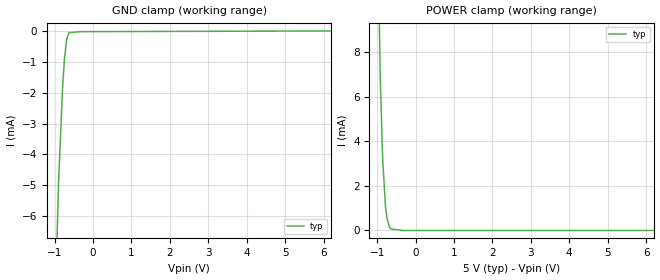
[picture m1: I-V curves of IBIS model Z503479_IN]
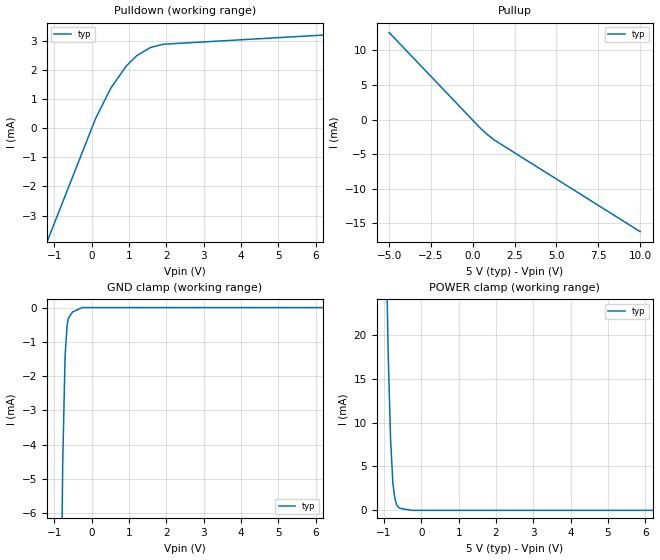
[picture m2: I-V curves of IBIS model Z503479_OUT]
| YOU ARE ONLY AUTHORIZED TO USE THIS SOFTWARE
| ACCORDING TO LICENSOR'S LICENSE RESTRICTIONS.
[IBIS Ver] 3.1
[File Name] mc14014bcl.ibs
[File Rev] 2.0
[Source] Measured and created by ICX Technology
[Date] Friday 7/14/00 9:07:51 AM
[Copyright]
| (C) COPYRIGHT 1993-2000
| MENTOR GRAPHICS CORPORATION
| ICX STANDARD LIBRARY, ICX PROJECT MODELING,
| ICX CUSTOM MODELING, ICX VENDOR MODEL
| ALL RIGHTS RESERVED.
| THE FOLLOWING ARE TRADEMARKS OR SERVICE MARKS OF
| MENTOR GRAPHICS CORPORATION:ICX (R), ICX STANDARD
| LIBRARY(R), ICX PROJECT MODELING(R), ICX CUSTOM
| MODELING(R), qualityIBIS(TM), MODELVIEWER(TM),
| AND MODELEDITOR(TM)
| ALL COPIES OF SOFTWARE, INCLUDING BUT NOT LIMITED TO
| ANY MODIFICATIONS, ENHANCEMENTS OR DERIVATIVE WORKS,
| MUST CONTAIN ALL MENTOR GRAPHICS CORPORATION'S
| NOTICES AND LEGENDS, INCLUDING THOSE EMBEDDED IN
| SOFTWARE AND THOSE AFFIXED TO SOFTWARE MEDIUM
| AND CONTAINER, AS RECEIVED FROM MENTOR GRAPHICS
| CORPORATION.
|  ZAP Model Builder 2.7
[Component] MC14014BCL
[Manufacturer] OnSemiconductor
[Package]
| variable   typ   min   max
R_pkg  .212ohms NA NA
L_pkg  4.758nH NA NA
C_pkg  1.944pF NA NA
[Pin] signal_name  model_name  R_pin  L_pin C_pin
1 P8 Z503479_IN .224 7.258n 2.683p
2 Q6 Z503479_OUT .216 5.258n 2.19p
3 Q8 Z503479_OUT .208 3.758n 1.697p
4 P4 Z503479_IN .2 2.758n 1.204p
5 P3 Z503479_IN .2 2.758n 1.204p
6 P2 Z503479_IN .208 3.758n 1.697p
7 P1 Z503479_IN .216 5.258n 2.19p
8 VSS POWER .224 7.258n 2.683p
9 P/S Z503479_IN .224 7.258n 2.683p
10 C Z503479_IN .216 5.258n 2.19p
11 DS Z503479_IN .208 3.758n 1.697p
12 Q7 Z503479_OUT .2 2.758n 1.204p
13 P5 Z503479_IN .2 2.758n 1.204p
14 P6 Z503479_IN .208 3.758n 1.697p
15 P7 Z503479_IN .216 5.258n 2.19p
16 VDD POWER .224 7.258n 2.683p
| Models and submodels in the file (2): Z503479_IN (Input), Z503479_OUT (Output)
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| (C) COPYRIGHT 1993-2000
| MENTOR GRAPHICS CORPORATION
| ICX STANDARD LIBRARY, ICX PROJECT MODELING,
| ICX CUSTOM MODELING, ICX VENDOR MODEL
| ALL RIGHTS RESERVED.
| THE FOLLOWING ARE TRADEMARKS OR SERVICE MARKS OF
| MENTOR GRAPHICS CORPORATION:ICX (R), ICX STANDARD
| LIBRARY(R), ICX PROJECT MODELING(R), ICX CUSTOM
| MODELING(R), qualityIBIS(TM), MODELVIEWER(TM),
| AND MODELEDITOR(TM)
| ALL COPIES OF SOFTWARE, INCLUDING BUT NOT LIMITED TO
| ANY MODIFICATIONS, ENHANCEMENTS OR DERIVATIVE WORKS,
| MUST CONTAIN ALL MENTOR GRAPHICS CORPORATION'S
| NOTICES AND LEGENDS, INCLUDING THOSE EMBEDDED IN
| SOFTWARE AND THOSE AFFIXED TO SOFTWARE MEDIUM
| AND CONTAINER, AS RECEIVED FROM MENTOR GRAPHICS
| CORPORATION.
| Model Application Version 1.89 2/18/99.
[Model] Z503479_IN
Model_type Input
Vinl = 1.500V
Vinh = 3.500V
C_comp 4.000pF NA NA
| variable typ   min   max
[Voltage Range] 5.000V NA NA
[GND Clamp Reference] 0.000V NA NA
[POWER Clamp Reference] 5.000V NA NA
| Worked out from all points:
|   GND clamp passes 1 mA (typ) near -0.75 V on its own axis
|   POWER clamp passes 1 mA (typ) near -0.78 V on its own axis
[GND Clamp]
-5V       -434.5mA   NA         NA
-1.275V   -28.86mA   NA         NA
-1.108V   -15.59mA   NA         NA
-1.035V   -11.21mA   NA         NA
-898.4mV  -4.985mA   NA         NA
-790.4mV  -1.796mA   NA         NA
-741.7mV  -875.6uA   NA         NA
-683.6mV  -256.6uA   NA         NA
-625mV    -45.24uA   NA         NA
-312.5mV  -11.68uA   NA         NA
10V       23.65uA    NA         NA
[POWER Clamp]
-5V       758.7mA    NA         NA
-1.19V    43.44mA    NA         NA
-1.035V   19.29mA    NA         NA
-918mV    6.903mA    NA         NA
-855mV    3.23mA     NA         NA
-781mV    1.047mA    NA         NA
-742mV    568.5uA    NA         NA
-687mV    181.5uA    NA         NA
-649mV    71.38uA    NA         NA
-324.5mV  0A         NA         NA
10V       0A         NA         NA
| (C) COPYRIGHT 1993-2000
| MENTOR GRAPHICS CORPORATION
| ICX STANDARD LIBRARY, ICX PROJECT MODELING,
| ICX CUSTOM MODELING, ICX VENDOR MODEL
| ALL RIGHTS RESERVED.
| THE FOLLOWING ARE TRADEMARKS OR SERVICE MARKS OF
| MENTOR GRAPHICS CORPORATION:ICX (R), ICX STANDARD
| LIBRARY(R), ICX PROJECT MODELING(R), ICX CUSTOM
| MODELING(R), qualityIBIS(TM), MODELVIEWER(TM),
| AND MODELEDITOR(TM)
| ALL COPIES OF SOFTWARE, INCLUDING BUT NOT LIMITED TO
| ANY MODIFICATIONS, ENHANCEMENTS OR DERIVATIVE WORKS,
| MUST CONTAIN ALL MENTOR GRAPHICS CORPORATION'S
| NOTICES AND LEGENDS, INCLUDING THOSE EMBEDDED IN
| SOFTWARE AND THOSE AFFIXED TO SOFTWARE MEDIUM
| AND CONTAINER, AS RECEIVED FROM MENTOR GRAPHICS
| CORPORATION.
| Model Application Version 1.89 2/18/99.
[Model] Z503479_OUT
Model_type Output
Vref=0.000V
Rref=500.0Mohms
Cref=50.00pF
Vmeas=2.500V
C_comp 8.000pF NA NA
| variable typ   min   max
[Voltage Range] 5.000V NA NA
[POWER Clamp Reference] 5.000V NA NA
[Pullup Reference] 5.000V NA NA
[Pulldown Reference] 0.000V NA NA
[GND Clamp Reference] 0.000V NA NA
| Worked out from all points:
|   slope of the pulldown table from 0 to 0.75 V, typ, clamps not added: 412 ohm
|   slope of the pullup table from 0 to 0.75 V, typ, clamps not added: 415 ohm
|   GND clamp passes 1 mA (typ) near -0.69 V on its own axis
|   POWER clamp passes 1 mA (typ) near -0.69 V on its own axis
[GND Clamp]
-5V       -428.8mA   NA         NA
-776.3mV  -4.553mA   NA         NA
-712.8mV  -1.417mA   NA         NA
-659.1mV  -519.3uA   NA         NA
-623.1mV  -305.3uA   NA         NA
-512.5mV  -127.7uA   NA         NA
-256.2mV  0A         NA         NA
10V       0A         NA         NA
[Pulldown]
-5V       -16.26mA   NA         NA
103.1mV   324.1uA    NA         NA
512.7mV   1.373mA    NA         NA
922.8mV   2.125mA    NA         NA
1.201V    2.48mA     NA         NA
1.578V    2.77mA     NA         NA
1.914V    2.878mA    NA         NA
10V       3.472mA    NA         NA
[Pullup]
-5V       12.59mA    NA         NA
454mV     -1.239mA   NA         NA
860mV     -2.136mA   NA         NA
1.271V    -2.924mA   NA         NA
10V       -16.19mA   NA         NA
[POWER Clamp]
-5V       973.3mA    NA         NA
-888mV    17.78mA    NA         NA
-825mV    8.165mA    NA         NA
-762mV    3.072mA    NA         NA
-715mV    1.471mA    NA         NA
-666mV    655.7uA    NA         NA
-595mV    272.7uA    NA         NA
-478mV    151.5uA    NA         NA
-239mV    0A         NA         NA
10V       0A         NA         NA
[Ramp]
| variable typ min max
dV/dt_r 2.593/15.76n NA NA
dV/dt_f 2.593/17.88n NA NA
R_load = 2.500kOhms
